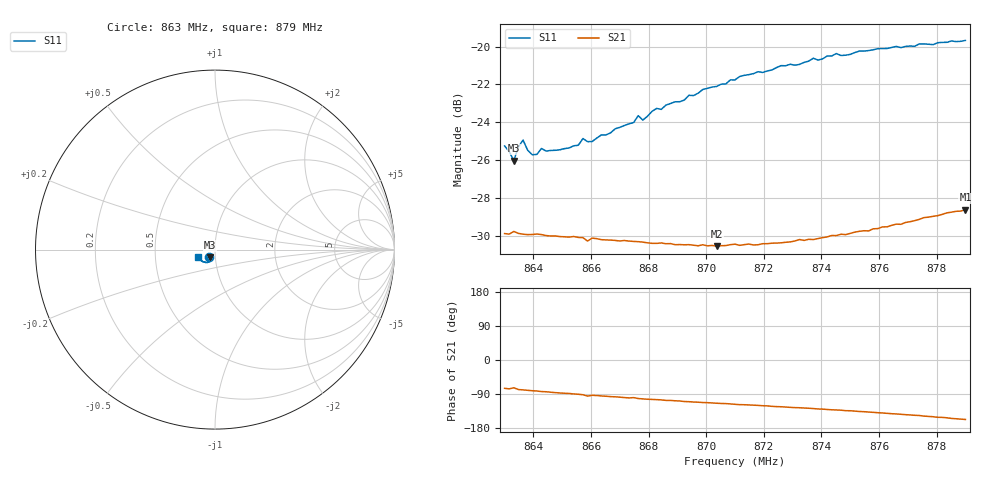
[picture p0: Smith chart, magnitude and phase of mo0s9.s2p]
# HZ S RI R 50
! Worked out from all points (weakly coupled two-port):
!   101 points, 863 MHz to 879 MHz, reference 50 ohm
!   highest |S21| = -28.61 dB at 879 MHz (marker M1); lowest = -30.5 dB at 870.36 MHz (marker M2)
!   lowest |S11| = -26.0 dB at 863.32 MHz (marker M3), VSWR 1.11, Z = 47.2 - j3.97 ohm
!   |S11| at or under -10 dB: start of sweep to end of sweep
!   S12 and S22 are empty: the file has one direction only
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8.63e8  -0.0345 -0.0423  0.00846 -0.0309  0 0  0 0
8.6332e8  -0.0271 -0.042  0.00935 -0.0311  0 0  0 0
8.6348e8  -0.0322 -0.0437  0.00668 -0.0314  0 0  0 0
8.6364e8  -0.0345 -0.0449  0.00618 -0.0313  0 0  0 0
8.6396e8  -0.0284 -0.0433  0.00498 -0.0315  0 0  0 0
8.6412e8  -0.0286 -0.0433  0.00454 -0.0317  0 0  0 0
8.6428e8  -0.0287 -0.0455  0.00371 -0.0317  0 0  0 0
8.6476e8  -0.0261 -0.0464  0.00217 -0.0315  0 0  0 0
8.6556e8  -0.0248 -0.0489  -0.000203 -0.0313  0 0  0 0
8.6572e8  -0.0246 -0.0516  -0.000926 -0.0313  0 0  0 0
8.6588e8  -0.0236 -0.0509  -0.00278 -0.0305  0 0  0 0
8.6604e8  -0.0224 -0.0515  -0.00174 -0.0311  0 0  0 0
8.6748e8  -0.0209 -0.0594  -0.00492 -0.0302  0 0  0 0
8.6764e8  -0.0251 -0.0607  -0.00617 -0.0299  0 0  0 0
8.678e8  -0.0248 -0.0589  -0.00666 -0.0297  0 0  0 0
8.6828e8  -0.0262 -0.0635  -0.00761 -0.0292  0 0  0 0
8.6844e8  -0.0267 -0.0628  -0.00795 -0.0292  0 0  0 0
8.7036e8  -0.0361 -0.0697  -0.0121 -0.0271  0 0  0 0
8.71e8  -0.0399 -0.0712  -0.0136 -0.0268  0 0  0 0
8.7372e8  -0.0606 -0.0707  -0.0191 -0.0243  0 0  0 0
8.7644e8  -0.0808 -0.0581  -0.0265 -0.0209  0 0  0 0
8.79e8  -0.0954 -0.041  -0.0341 -0.0145  0 0  0 0
